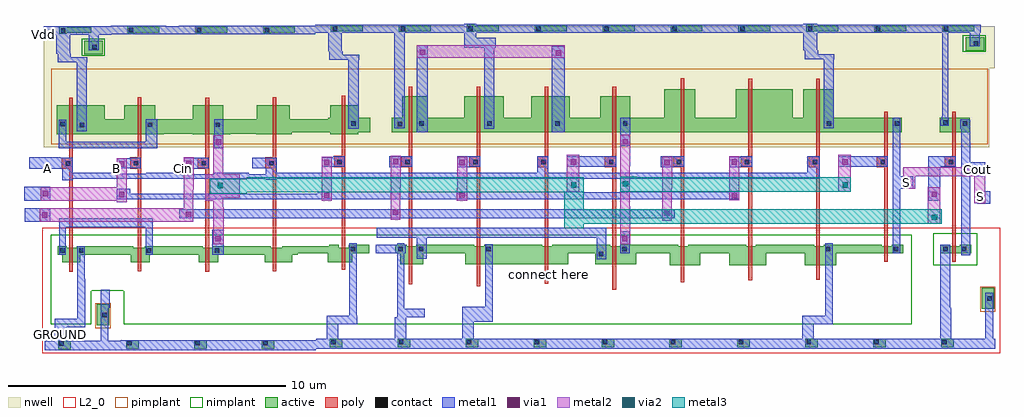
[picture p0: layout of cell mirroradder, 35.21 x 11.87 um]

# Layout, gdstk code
import gdstk
lib = gdstk.Library(unit=1e-6, precision=1e-09)
def R(c, l, rs):  # rectangles x0, y0, x1, y1
    for r in rs: c.add(gdstk.rectangle(r[:2], r[2:], *l))
def A(c, l, x, y, w, h, nx, ny, dx, dy):  # array of equal rectangles
    R(c, l, [(x+i*dx, y+j*dy, x+i*dx+w, y+j*dy+h) for i in range(nx) for j in range(ny)])
def P(c, l, *ps):  # polygons
    for p in ps: c.add(gdstk.Polygon(p, *l))
L2_0 = (2, 0)
nwell = (3, 0)
active = (6, 0)
poly = (17, 0)
pimplant = (25, 0)
nimplant = (26, 0)
contact = (30, 0)
metal1 = (31, 0)
metal2 = (32, 0)
metal3 = (33, 0)
via1 = (51, 0)
via2 = (52, 0)

mirroradder = lib.new_cell('mirroradder')
R(mirroradder, L2_0, [(-1083.125,636.735,-1048.565,641.255)])
P(mirroradder, nwell, [(-1083.07,644.15),(-1048.95,644.15),(-1048.95,647),(-1048.75,647),(-1048.75,648.515),(-1083.07,648.515)])
A(mirroradder, active, -1080.09, 636.885, 0.45, 0.31, 3, 1, 2.45, 0)
A(mirroradder, active, -1072.74, 636.935, 0.45, 0.31, 10, 1, 2.45, 0)
R(mirroradder, active, [(-1082.54,636.875,-1082.09,637.185), (-1081.145,637.735,-1080.7,638.495), (-1049.225,638.33,-1048.78,639.09), (-1071.66,640.335,-1071.32,640.64), (-1071.71,644.695,-1071.29,645.215), (-1062.995,644.695,-1061.91,645.995), (-1053.195,644.695,-1052.11,645.215), (-1050.745,644.695,-1049.66,645.215), (-1081.595,647.51,-1080.93,647.995), (-1049.805,647.645,-1049.14,648.13)])
P(mirroradder, active, [(-1082.595,644.635),(-1081.51,644.635),(-1081.51,645.165),(-1080.86,645.165),(-1080.86,645.675),(-1082.595,645.675)],
  [(-1082.565,640.275),(-1082.395,640.275),(-1082.395,640.015),(-1081.74,640.015),(-1081.74,640.275),(-1081.46,640.275),(-1081.46,640.285),(-1080.115,640.285),(-1080.115,640.58),(-1081.87,640.58),(-1081.87,640.535),(-1082.225,640.535),(-1082.225,640.58),(-1082.565,640.58)],
  [(-1080.05,648.27),(-1079.78,648.27),(-1079.78,648.29),(-1078.9,648.29),(-1078.9,648.5),(-1079.78,648.5),(-1079.78,648.535),(-1080.05,648.535)],
  [(-1081.51,644.635),(-1078.725,644.635),(-1078.725,644.645),(-1077.695,644.645),(-1077.695,645.165),(-1079.035,645.165),(-1079.035,645.675),(-1080.145,645.675),(-1080.145,645.665),(-1080.15,645.665),(-1080.15,645.165),(-1081.51,645.165)],
  [(-1082.5,648.26),(-1082.23,648.26),(-1082.23,648.28),(-1081.35,648.28),(-1081.35,648.49),(-1082.23,648.49),(-1082.23,648.525),(-1082.5,648.525)],
  [(-1080.115,640.285),(-1079.93,640.285),(-1079.93,640.015),(-1079.24,640.015),(-1079.24,640.285),(-1077.665,640.285),(-1077.665,640.59),(-1079.42,640.59),(-1079.42,640.535),(-1079.82,640.535),(-1079.82,640.54),(-1079.835,640.54),(-1079.835,640.59),(-1080.115,640.59)],
  [(-1060.515,640.335),(-1060.48,640.335),(-1060.48,639.895),(-1059.375,639.895),(-1059.375,640.335),(-1059.41,640.335),(-1059.41,640.64),(-1059.82,640.64),(-1059.82,640.595),(-1060.175,640.595),(-1060.175,640.64),(-1060.515,640.64)],
  [(-1065.415,640.335),(-1064.31,640.335),(-1064.31,640.64),(-1064.72,640.64),(-1064.72,640.595),(-1065.075,640.595),(-1065.075,640.64),(-1065.415,640.64)],
  [(-1064.31,640.335),(-1063.175,640.335),(-1063.175,639.945),(-1061.685,639.945),(-1061.685,640.335),(-1060.515,640.335),(-1060.515,640.64),(-1062.27,640.64),(-1062.27,640.595),(-1062.625,640.595),(-1062.625,640.64),(-1064.31,640.64)],
  [(-1054.51,640.335),(-1052.06,640.335),(-1052.06,640.64),(-1052.47,640.64),(-1052.47,640.595),(-1052.825,640.595),(-1052.825,640.64),(-1054.51,640.64)],
  [(-1050.715,640.335),(-1049.61,640.335),(-1049.61,640.64),(-1050.02,640.64),(-1050.02,640.595),(-1050.375,640.595),(-1050.375,640.64),(-1050.715,640.64)],
  [(-1059.41,640.335),(-1058.33,640.335),(-1058.33,639.895),(-1057,639.895),(-1057,640.335),(-1055.615,640.335),(-1055.615,640.64),(-1057.37,640.64),(-1057.37,640.595),(-1057.725,640.595),(-1057.725,640.64),(-1059.41,640.64)],
  [(-1055.615,639.895),(-1054.48,639.895),(-1054.48,640.335),(-1054.51,640.335),(-1054.51,640.64),(-1054.92,640.64),(-1054.92,640.595),(-1055.275,640.595),(-1055.275,640.64),(-1055.615,640.64)],
  [(-1067.865,639.945),(-1064.135,639.945),(-1064.135,640.335),(-1065.415,640.335),(-1065.415,640.64),(-1067.17,640.64),(-1067.17,640.595),(-1067.525,640.595),(-1067.525,640.64),(-1067.865,640.64)],
  [(-1074.11,640.335),(-1072.81,640.335),(-1072.81,640.015),(-1071.925,640.015),(-1071.925,640.335),(-1071.66,640.335),(-1071.66,640.64),(-1072.065,640.64),(-1072.065,640.535),(-1072.425,640.535),(-1072.425,640.64),(-1072.765,640.64),(-1072.765,640.59),(-1074.11,640.59)],
  [(-1075.215,640.285),(-1075.085,640.285),(-1075.085,640.015),(-1074.105,640.015),(-1074.105,640.28),(-1073.895,640.28),(-1073.895,640.335),(-1074.11,640.335),(-1074.11,640.59),(-1074.465,640.59),(-1074.465,640.535),(-1074.875,640.535),(-1074.875,640.59),(-1075.215,640.59)],
  [(-1070.385,640.335),(-1070.2,640.335),(-1070.2,639.945),(-1069.38,639.945),(-1069.38,640.335),(-1067.865,640.335),(-1067.865,640.64),(-1069.62,640.64),(-1069.62,640.595),(-1069.975,640.595),(-1069.975,640.64),(-1070.385,640.64)],
  [(-1077.665,640.285),(-1077.465,640.285),(-1077.465,640.015),(-1076.77,640.015),(-1076.77,640.285),(-1075.215,640.285),(-1075.215,640.59),(-1076.94,640.59),(-1076.94,640.585),(-1076.96,640.585),(-1076.96,640.535),(-1077.325,640.535),(-1077.325,640.59),(-1077.665,640.59)],
  [(-1065.35,648.32),(-1065.08,648.32),(-1065.08,648.34),(-1064.2,648.34),(-1064.2,648.55),(-1065.08,648.55),(-1065.08,648.585),(-1065.35,648.585)],
  [(-1067.8,648.32),(-1067.53,648.32),(-1067.53,648.34),(-1066.65,648.34),(-1066.65,648.55),(-1067.53,648.55),(-1067.53,648.585),(-1067.8,648.585)],
  [(-1077.695,644.635),(-1076.595,644.635),(-1076.595,644.645),(-1076.61,644.645),(-1076.61,645.155),(-1076.58,645.155),(-1076.58,645.675),(-1077.695,645.675)],
  [(-1070.25,648.32),(-1069.98,648.32),(-1069.98,648.34),(-1069.1,648.34),(-1069.1,648.55),(-1069.98,648.55),(-1069.98,648.585),(-1070.25,648.585)],
  [(-1070.5,644.695),(-1067.89,644.695),(-1067.89,645.215),(-1069.215,645.215),(-1069.215,646),(-1069.6,646),(-1069.6,645.995),(-1070.13,645.995),(-1070.13,645.215),(-1070.5,645.215)],
  [(-1066.81,644.695),(-1062.995,644.695),(-1062.995,645.215),(-1064.08,645.215),(-1064.08,645.99),(-1064.085,645.99),(-1064.085,645.995),(-1065.475,645.995),(-1065.475,645.215),(-1066.81,645.215)],
  [(-1077.6,648.27),(-1077.33,648.27),(-1077.33,648.29),(-1076.45,648.29),(-1076.45,648.5),(-1077.33,648.5),(-1077.33,648.535),(-1077.6,648.535)],
  [(-1075.15,648.27),(-1074.88,648.27),(-1074.88,648.29),(-1074,648.29),(-1074,648.5),(-1074.88,648.5),(-1074.88,648.535),(-1075.15,648.535)],
  [(-1072.795,644.695),(-1072.73,644.695),(-1072.73,644.635),(-1071.71,644.635),(-1071.71,645.215),(-1071.705,645.215),(-1071.705,645.675),(-1072.73,645.675),(-1072.73,645.215),(-1072.795,645.215)],
  [(-1072.7,648.32),(-1072.43,648.32),(-1072.43,648.34),(-1071.55,648.34),(-1071.55,648.55),(-1072.43,648.55),(-1072.43,648.585),(-1072.7,648.585)],
  [(-1067.895,644.695),(-1066.81,644.695),(-1066.81,645.215),(-1066.47,645.215),(-1066.47,645.995),(-1067.895,645.995)],
  [(-1076.93,644.635),(-1076.33,644.635),(-1076.33,644.65),(-1075.4,644.65),(-1075.4,644.64),(-1075.39,644.64),(-1075.39,644.635),(-1074.115,644.635),(-1074.115,644.64),(-1074.11,644.64),(-1074.11,644.695),(-1072.79,644.695),(-1072.79,645.165),(-1074.19,645.165),(-1074.19,645.675),(-1075.37,645.675),(-1075.37,645.165),(-1076.61,645.165),(-1076.61,644.65),(-1076.93,644.65)],
  [(-1060.45,648.32),(-1060.18,648.32),(-1060.18,648.34),(-1059.3,648.34),(-1059.3,648.55),(-1060.18,648.55),(-1060.18,648.585),(-1060.45,648.585)],
  [(-1058.095,644.695),(-1057.01,644.695),(-1057.01,645.215),(-1056.05,645.215),(-1056.05,646.255),(-1058.095,646.255)],
  [(-1053.1,648.32),(-1052.83,648.32),(-1052.83,648.34),(-1051.95,648.34),(-1051.95,648.55),(-1052.83,648.55),(-1052.83,648.585),(-1053.1,648.585)],
  [(-1050.65,648.32),(-1050.38,648.32),(-1050.38,648.34),(-1049.5,648.34),(-1049.5,648.55),(-1050.38,648.55),(-1050.38,648.585),(-1050.65,648.585)],
  [(-1058,648.32),(-1057.73,648.32),(-1057.73,648.34),(-1056.85,648.34),(-1056.85,648.55),(-1057.73,648.55),(-1057.73,648.585),(-1058,648.585)],
  [(-1055.55,648.32),(-1055.28,648.32),(-1055.28,648.34),(-1054.4,648.34),(-1054.4,648.55),(-1055.28,648.55),(-1055.28,648.585),(-1055.55,648.585)],
  [(-1061.91,644.695),(-1058.095,644.695),(-1058.095,645.215),(-1059.555,645.215),(-1059.555,646.255),(-1060.68,646.255),(-1060.68,645.215),(-1061.91,645.215)],
  [(-1062.9,648.32),(-1062.63,648.32),(-1062.63,648.34),(-1061.75,648.34),(-1061.75,648.55),(-1062.63,648.55),(-1062.63,648.585),(-1062.9,648.585)],
  [(-1057.01,644.695),(-1053.195,644.695),(-1053.195,645.215),(-1054.555,645.215),(-1054.555,646.255),(-1055.67,646.255),(-1055.67,645.215),(-1057.01,645.215)])
P(mirroradder, poly, [(-1082.41,643.375),(-1082.14,643.375),(-1082.14,639.665),(-1082.01,639.665),(-1082.01,645.945),(-1082.14,645.945),(-1082.14,643.775),(-1082.41,643.775)],
  [(-1079.95,643.39),(-1079.68,643.39),(-1079.68,639.68),(-1079.55,639.68),(-1079.55,645.96),(-1079.68,645.96),(-1079.68,643.79),(-1079.95,643.79)],
  [(-1067.71,643.44),(-1067.44,643.44),(-1067.44,639.15),(-1067.31,639.15),(-1067.31,646.345),(-1067.44,646.345),(-1067.44,643.84),(-1067.71,643.84)],
  [(-1070.16,643.435),(-1069.89,643.435),(-1069.89,639.215),(-1069.76,639.215),(-1069.76,646.34),(-1069.89,646.34),(-1069.89,643.835),(-1070.16,643.835)],
  [(-1077.5,643.38),(-1077.23,643.38),(-1077.23,639.67),(-1077.1,639.67),(-1077.1,645.95),(-1077.23,645.95),(-1077.23,643.78),(-1077.5,643.78)],
  [(-1075.07,643.4),(-1074.8,643.4),(-1074.8,639.69),(-1074.67,639.69),(-1074.67,645.97),(-1074.8,645.97),(-1074.8,643.8),(-1075.07,643.8)],
  [(-1072.59,643.445),(-1072.32,643.445),(-1072.32,639.735),(-1072.19,639.735),(-1072.19,646.015),(-1072.32,646.015),(-1072.32,643.845),(-1072.59,643.845)],
  [(-1065.26,643.435),(-1064.99,643.435),(-1064.99,639.225),(-1064.86,639.225),(-1064.86,646.34),(-1064.99,646.34),(-1064.99,643.835),(-1065.26,643.835)],
  [(-1062.815,643.435),(-1062.545,643.435),(-1062.545,639.015),(-1062.415,639.015),(-1062.415,646.34),(-1062.545,646.34),(-1062.545,643.835),(-1062.815,643.835)],
  [(-1053.01,643.435),(-1052.74,643.435),(-1052.74,640.02),(-1052.61,640.02),(-1052.61,645.445),(-1052.74,645.445),(-1052.74,643.835),(-1053.01,643.835)],
  [(-1050.56,643.435),(-1050.29,643.435),(-1050.29,640.025),(-1050.16,640.025),(-1050.16,645.445),(-1050.29,645.445),(-1050.29,643.835),(-1050.56,643.835)],
  [(-1060.36,643.435),(-1060.09,643.435),(-1060.09,639.28),(-1059.96,639.28),(-1059.96,646.64),(-1060.09,646.64),(-1060.09,643.835),(-1060.36,643.835)],
  [(-1057.91,643.435),(-1057.64,643.435),(-1057.64,639.355),(-1057.51,639.355),(-1057.51,646.625),(-1057.64,646.625),(-1057.64,643.835),(-1057.91,643.835)],
  [(-1055.46,643.435),(-1055.19,643.435),(-1055.19,639.37),(-1055.06,639.37),(-1055.06,646.625),(-1055.19,646.625),(-1055.19,643.835),(-1055.46,643.835)])
R(mirroradder, pimplant, [(-1081.2,637.625,-1080.65,638.53), (-1049.28,638.22,-1048.73,639.125), (-1082.8,644.265,-1049.015,646.995)])
R(mirroradder, nimplant, [(-1050.97,639.895,-1049.39,641.055), (-1081.7,647.46,-1080.865,648.065), (-1049.91,647.595,-1049.075,648.2)])
P(mirroradder, nimplant, [(-1082.81,637.77),(-1081.35,637.77),(-1081.35,638.985),(-1080.185,638.985),(-1080.185,637.77),(-1051.745,637.77),(-1051.745,640.995),(-1082.81,640.995)])
A(mirroradder, contact, -1080.045, 637.01, 0.16, 0.16, 3, 1, 2.45, 0)
A(mirroradder, contact, -1072.695, 637.06, 0.16, 0.16, 10, 1, 2.45, 0)
A(mirroradder, contact, -1079.82, 643.5, 0.16, 0.16, 3, 1, 2.45, 0)
A(mirroradder, contact, -1072.47, 643.55, 0.16, 0.16, 8, 1, 2.45, 0)
A(mirroradder, contact, -1071.965, 644.94, 0.16, 0.16, 5, 1, 2.45, 0)
A(mirroradder, contact, -1054.815, 644.94, 0.16, 0.16, 3, 1, 2.45, 0)
A(mirroradder, contact, -1079.99, 648.305, 0.16, 0.16, 3, 1, 2.45, 0)
A(mirroradder, contact, -1072.64, 648.355, 0.16, 0.16, 10, 1, 2.45, 0)
R(mirroradder, contact, [(-1082.495,637,-1082.335,637.16), (-1080.945,638.02,-1080.785,638.18), (-1049.025,638.615,-1048.865,638.775), (-1063.045,640.22,-1062.885,640.38), (-1082.46,640.35,-1082.3,640.51), (-1081.79,640.35,-1081.63,640.51), (-1079.34,640.36,-1079.18,640.52), (-1076.89,640.36,-1076.73,640.52), (-1071.99,640.41,-1071.83,640.57), (-1070.265,640.41,-1070.105,640.57), (-1069.54,640.41,-1069.38,640.57), (-1067.09,640.41,-1066.93,640.57), (-1062.19,640.41,-1062.03,640.57), (-1054.84,640.41,-1054.68,640.57), (-1052.39,640.41,-1052.23,640.57), (-1050.61,640.41,-1050.45,640.57), (-1049.94,640.41,-1049.78,640.57), (-1082.27,643.49,-1082.11,643.65), (-1052.875,643.55,-1052.715,643.71), (-1050.42,643.55,-1050.26,643.71), (-1081.765,644.88,-1081.605,645.04), (-1079.315,644.89,-1079.155,645.05), (-1076.865,644.89,-1076.705,645.05), (-1082.465,644.91,-1082.305,645.07), (-1070.29,644.915,-1070.13,645.075), (-1050.615,644.97,-1050.455,645.13), (-1081.305,647.695,-1081.145,647.855), (-1049.515,647.83,-1049.355,647.99), (-1082.44,648.295,-1082.28,648.455)])
A(mirroradder, metal1, -1073.27, 648.285, 1.96, 0.3, 3, 1, 4.9, 0)
A(mirroradder, metal1, -1058.57, 648.285, 2.45, 0.3, 3, 1, 2.45, 0)
R(mirroradder, metal1, [(-1078.125,636.84,-1075.6,637.195), (-1075.675,636.84,-1073.245,637.195), (-1082.665,636.875,-1082.25,637.965), (-1070.775,636.89,-1068.155,637.245), (-1068.325,636.89,-1065.7,637.245), (-1065.875,636.89,-1063.215,637.245), (-1063.425,636.89,-1060.855,637.245), (-1060.975,636.89,-1058.41,637.245), (-1058.525,636.89,-1056,637.245), (-1056.075,636.89,-1053.535,637.245), (-1053.625,636.89,-1051.045,637.245), (-1051.175,636.89,-1048.745,637.245), (-1070.405,636.935,-1069.99,638.025), (-1067.965,636.955,-1067.55,638.045), (-1072.855,636.995,-1072.44,638.085), (-1055.695,636.995,-1055.28,638.085), (-1082.49,637.66,-1081.57,637.965), (-1072.68,637.78,-1071.76,638.085), (-1055.52,637.78,-1054.6,638.085), (-1070.305,637.82,-1070.065,640.69), (-1067.965,637.87,-1066.865,638.405), (-1070.315,638.025,-1069.325,638.33), (-1063.12,640.12,-1062.775,640.905), (-1069.61,640.135,-1069.25,641.255), (-1049.955,640.255,-1049.635,645.135), (-1082.5,640.275,-1082.26,641.42), (-1079.375,640.285,-1079.125,641.445), (-1076.985,640.285,-1076.57,641.18), (-1071.09,640.335,-1070.01,640.645), (-1062.27,640.335,-1061.925,641.12), (-1052.43,640.335,-1052.165,645.215), (-1071.05,640.895,-1062.775,641.255), (-1082.5,641.27,-1079.125,641.595), (-1083.75,641.475,-1082.825,641.955), (-1078.17,641.6,-1060.305,641.93), (-1049.38,642.125,-1048.915,642.57), (-1051.15,642.225,-1050.725,643.825), (-1083.775,642.235,-1082.825,642.725), (-1052.165,642.66,-1051.7,643.105), (-1049.635,643.11,-1049.1,643.615), (-1083.585,643.39,-1082.465,643.79), (-1055.46,643.45,-1055.06,643.835), (-1050.725,643.45,-1050.51,643.825), (-1050.56,643.45,-1050.16,643.835), (-1082.53,644.12,-1082.245,645.155), (-1082.53,644.13,-1078.97,644.36), (-1076.92,644.13,-1076.595,645.165), (-1062.265,644.205,-1061.91,645.215), (-1079.39,644.3,-1078.97,645.165), (-1064.74,644.695,-1064.265,647.805), (-1081.88,644.735,-1081.51,647.225), (-1072.075,644.825,-1071.705,647.315), (-1050.005,644.83,-1049.675,645.17), (-1070.42,644.835,-1070.045,648.285), (-1082.605,647.535,-1082.11,648.49), (-1072.8,647.625,-1072.305,648.58), (-1055.655,647.65,-1055.16,648.605), (-1081.44,647.665,-1081.085,648.225), (-1067.885,647.745,-1067.455,648.605), (-1067.885,647.755,-1066.765,648.105), (-1049.65,647.8,-1049.295,648.36), (-1078.17,648.235,-1076.21,648.535), (-1051.22,648.285,-1049.26,648.585)])
P(mirroradder, metal1, [(-1054.4,643.455),(-1053.015,643.455),(-1053.015,643.45),(-1052.615,643.45),(-1052.615,643.835),(-1054.4,643.835)],
  [(-1068.15,643.435),(-1067.71,643.435),(-1067.71,643.45),(-1067.31,643.45),(-1067.31,643.835),(-1068.15,643.835)],
  [(-1083.025,636.83),(-1080.595,636.83),(-1080.595,636.84),(-1080.575,636.84),(-1080.575,637.185),(-1083.025,637.185)],
  [(-1083.07,648.225),(-1080.62,648.225),(-1080.62,648.52),(-1081.11,648.52),(-1081.11,648.525),(-1083.07,648.525)],
  [(-1073.035,643.45),(-1072.21,643.45),(-1072.21,643.835),(-1072.61,643.835),(-1072.61,643.805),(-1073.035,643.805)],
  [(-1080.575,636.84),(-1078.105,636.84),(-1078.105,637.195),(-1080.28,637.195),(-1080.28,637.185),(-1080.575,637.185)],
  [(-1078.015,643.39),(-1077.51,643.39),(-1077.51,643.4),(-1077.11,643.4),(-1077.11,643.785),(-1078.015,643.785)],
  [(-1073.43,636.89),(-1070.655,636.89),(-1070.655,637.245),(-1073.225,637.245),(-1073.225,637.195),(-1073.43,637.195)],
  [(-1064.195,643.455),(-1062.81,643.455),(-1062.81,643.45),(-1062.41,643.45),(-1062.41,643.835),(-1064.195,643.835)],
  [(-1065.26,643.45),(-1065.255,643.45),(-1065.255,643.045),(-1064.86,643.045),(-1064.86,643.835),(-1065.26,643.835)],
  [(-1058.335,643.44),(-1057.91,643.44),(-1057.91,643.45),(-1057.51,643.45),(-1057.51,643.835),(-1057.91,643.835),(-1057.91,643.815),(-1058.335,643.815)],
  [(-1075.545,643.395),(-1075.06,643.395),(-1075.06,642.99),(-1074.66,642.99),(-1074.66,643.785),(-1075.545,643.785)],
  [(-1082.915,643.39),(-1082.4,643.39),(-1082.4,642.96),(-1082.01,642.96),(-1082.01,643.775),(-1082.915,643.775)],
  [(-1080.62,648.235),(-1078.15,648.235),(-1078.15,648.53),(-1078.66,648.53),(-1078.66,648.535),(-1080.62,648.535)],
  [(-1082.4,643.025),(-1055.06,643.025),(-1055.06,643.835),(-1055.51,643.835),(-1055.51,643.235),(-1074.905,643.235),(-1074.905,643.185),(-1075.67,643.185),(-1075.67,643.235),(-1076.91,643.235),(-1076.91,643.185),(-1078.32,643.185),(-1078.32,643.235),(-1079.365,643.235),(-1079.365,643.2),(-1080.565,643.2),(-1080.565,643.235),(-1082.4,643.235)],
  [(-1060.795,643.44),(-1060.34,643.44),(-1060.34,643.45),(-1059.96,643.45),(-1059.96,643.835),(-1060.795,643.835)],
  [(-1061.51,648.295),(-1061.02,648.295),(-1061.02,648.285),(-1058.565,648.285),(-1058.565,648.585),(-1061.51,648.585)],
  [(-1080.43,643.4),(-1079.56,643.4),(-1079.56,643.785),(-1079.96,643.785),(-1079.96,643.765),(-1080.43,643.765)],
  [(-1071.31,648.285),(-1068.37,648.285),(-1068.37,648.58),(-1068.86,648.58),(-1068.86,648.585),(-1070.82,648.585),(-1070.82,648.57),(-1071.31,648.57)],
  [(-1076.21,648.235),(-1073.76,648.235),(-1073.76,648.24),(-1073.27,648.24),(-1073.27,648.535),(-1076.21,648.535)],
  [(-1070.605,643.43),(-1070.14,643.43),(-1070.14,643.45),(-1069.76,643.45),(-1069.76,643.835),(-1070.605,643.835)],
  [(-1066.41,648.285),(-1063.465,648.285),(-1063.465,648.585),(-1065.92,648.585),(-1065.92,648.575),(-1066.41,648.575)],
  [(-1082.565,647.225),(-1081.49,647.225),(-1081.49,647.405),(-1082.08,647.405),(-1082.08,647.535),(-1082.565,647.535)],
  [(-1081.845,637.965),(-1081.57,637.965),(-1081.57,639.4),(-1081.575,639.4),(-1081.575,640.58),(-1081.845,640.58)],
  [(-1081.015,637.185),(-1080.73,637.185),(-1080.73,638.375),(-1080.675,638.375),(-1080.675,639.015),(-1081.015,639.015)],
  [(-1067.14,638.045),(-1066.865,638.045),(-1066.865,639.48),(-1066.87,639.48),(-1066.87,640.66),(-1067.14,640.66)],
  [(-1050.715,637.245),(-1050.33,637.245),(-1050.33,638.37),(-1050.365,638.37),(-1050.365,640.64),(-1050.715,640.64)],
  [(-1054.875,638.085),(-1054.6,638.085),(-1054.6,639.52),(-1054.605,639.52),(-1054.605,640.7),(-1054.875,640.7)],
  [(-1072.035,638.085),(-1071.77,638.085),(-1071.77,639.52),(-1071.765,639.52),(-1071.765,640.7),(-1072.035,640.7)],
  [(-1049.09,637.225),(-1048.815,637.225),(-1048.815,637.53),(-1048.805,637.53),(-1048.805,638.905),(-1049.09,638.905)],
  [(-1080.43,642.28),(-1080.415,642.28),(-1080.415,642.275),(-1079.94,642.275),(-1079.94,642.28),(-1057.975,642.28),(-1057.975,642.56),(-1062,642.56),(-1062,642.54),(-1063.59,642.54),(-1063.59,642.56),(-1073.185,642.56),(-1073.185,642.485),(-1077.475,642.485),(-1077.475,642.475),(-1079.94,642.475),(-1079.94,642.665),(-1080.43,642.665)],
  [(-1072.76,647.315),(-1071.685,647.315),(-1071.685,647.495),(-1072.275,647.495),(-1072.275,647.625),(-1072.76,647.625)],
  [(-1069.6,644.695),(-1069.215,644.695),(-1069.215,646.095),(-1069.205,646.095),(-1069.205,647.83),(-1069.6,647.83)],
  [(-1067.18,644.82),(-1066.81,644.82),(-1066.81,646.02),(-1066.815,646.02),(-1066.815,647.755),(-1067.18,647.755)],
  [(-1055.615,647.34),(-1054.54,647.34),(-1054.54,647.52),(-1055.13,647.52),(-1055.13,647.65),(-1055.615,647.65)],
  [(-1054.93,644.85),(-1054.56,644.85),(-1054.56,645.605),(-1054.555,645.605),(-1054.555,647.34),(-1054.93,647.34)],
  [(-1050.725,644.925),(-1050.405,644.925),(-1050.405,645.225),(-1050.435,645.225),(-1050.435,646.565),(-1050.43,646.565),(-1050.43,648.47),(-1050.65,648.47),(-1050.65,645.265),(-1050.665,645.265),(-1050.665,645.155),(-1050.725,645.155)])
R(mirroradder, metal2, [(-1051.18,641.4,-1050.725,642.72), (-1083.215,641.475,-1077.73,641.955), (-1083.175,642.235,-1080.07,642.71), (-1064.195,642.56,-1063.74,643.88), (-1054.4,642.56,-1053.945,643.88), (-1069.6,647.385,-1064.265,647.83)])
P(mirroradder, metal2, [(-1080.435,642.18),(-1080.07,642.18),(-1080.07,643.765),(-1080.43,643.765),(-1080.43,642.625),(-1080.435,642.625)],
  [(-1078.015,641.475),(-1077.67,641.475),(-1077.67,642.65),(-1077.655,642.65),(-1077.655,643.79),(-1078.015,643.79)],
  [(-1068.155,642.235),(-1067.79,642.235),(-1067.79,643.82),(-1068.15,643.82),(-1068.15,642.68),(-1068.155,642.68)],
  [(-1073.04,642.235),(-1072.675,642.235),(-1072.675,643.82),(-1073.035,643.82),(-1073.035,642.68),(-1073.04,642.68)],
  [(-1070.545,641.54),(-1070.2,641.54),(-1070.2,642.715),(-1070.185,642.715),(-1070.185,643.855),(-1070.545,643.855)],
  [(-1077.24,642.22),(-1076.94,642.22),(-1076.94,640.655),(-1076.57,640.655),(-1076.57,642),(-1076.595,642),(-1076.595,642.34),(-1075.985,642.34),(-1075.985,643.185),(-1076.595,643.185),(-1076.595,643.46),(-1076.58,643.46),(-1076.58,644.6),(-1076.94,644.6),(-1076.94,643.19),(-1077.24,643.19)],
  [(-1058.34,642.25),(-1057.975,642.25),(-1057.975,643.835),(-1058.335,643.835),(-1058.335,642.695),(-1058.34,642.695)],
  [(-1060.755,641.505),(-1060.41,641.505),(-1060.41,642.68),(-1060.395,642.68),(-1060.395,643.82),(-1060.755,643.82)],
  [(-1062.27,640.665),(-1061.9,640.665),(-1061.9,642.01),(-1061.925,642.01),(-1061.925,643.47),(-1061.91,643.47),(-1061.91,644.61),(-1062.27,644.61)],
  [(-1052.05,642.66),(-1051.63,642.66),(-1051.63,643.105),(-1049.485,643.105),(-1049.485,642.13),(-1049.1,642.13),(-1049.1,643.435),(-1052.05,643.435)])
P(mirroradder, metal3, [(-1077.075,642.485),(-1075.745,642.485),(-1075.745,642.54),(-1064.285,642.54),(-1064.285,641.23),(-1063.59,641.23),(-1063.59,641.4),(-1050.675,641.4),(-1050.675,641.93),(-1063.59,641.93),(-1063.59,643.08),(-1075.745,643.08),(-1075.745,643.025),(-1077.075,643.025)],
  [(-1062.27,642.56),(-1053.95,642.56),(-1053.95,643.08),(-1061.65,643.08),(-1061.65,643.095),(-1062.27,643.095)])
R(mirroradder, via1, [(-1076.87,640.76,-1076.68,640.95), (-1062.2,640.77,-1062.01,640.96), (-1083.12,641.615,-1082.93,641.805), (-1077.935,641.65,-1077.745,641.84), (-1060.675,641.68,-1060.485,641.87), (-1070.465,641.715,-1070.275,641.905), (-1049.34,642.255,-1049.15,642.445), (-1058.24,642.315,-1058.05,642.505), (-1072.95,642.33,-1072.76,642.52), (-1068.065,642.33,-1067.875,642.52), (-1080.345,642.355,-1080.155,642.545), (-1051.035,642.37,-1050.845,642.56), (-1083.09,642.395,-1082.9,642.585), (-1052.02,642.76,-1051.83,642.95), (-1080.345,643.46,-1080.155,643.65), (-1077.93,643.485,-1077.74,643.675), (-1072.95,643.515,-1072.76,643.705), (-1068.065,643.515,-1067.875,643.705), (-1060.67,643.515,-1060.48,643.705), (-1064.05,643.53,-1063.86,643.72), (-1058.25,643.53,-1058.06,643.72), (-1054.255,643.53,-1054.065,643.72), (-1070.46,643.55,-1070.27,643.74), (-1076.85,644.255,-1076.66,644.445), (-1062.18,644.265,-1061.99,644.455), (-1064.585,647.465,-1064.395,647.655), (-1069.49,647.49,-1069.3,647.68)])
R(mirroradder, via2, [(-1051.025,641.54,-1050.835,641.73), (-1076.79,642.685,-1076.6,642.875), (-1064.04,642.7,-1063.85,642.89), (-1054.245,642.7,-1054.055,642.89), (-1062.175,642.75,-1061.985,642.94)])
mirroradder.add(gdstk.Label('A', (-1082.915,643.39), layer=131, texttype=0))
mirroradder.add(gdstk.Label('Vdd', (-1083.07,648.225), layer=131, texttype=0))
mirroradder.add(gdstk.Label('Cin', (-1078.015,643.39), layer=131, texttype=0))
mirroradder.add(gdstk.Label('B', (-1080.43,643.4), layer=131, texttype=0))
mirroradder.add(gdstk.Label('GROUND', (-1082.458,637.42), layer=131, texttype=0))
mirroradder.add(gdstk.Label('connect here', (-1064.86,639.565), layer=3, texttype=0))
mirroradder.add(gdstk.Label('Cout', (-1049.368,643.362), layer=131, texttype=0))
mirroradder.add(gdstk.Label('S', (-1049.253,642.377), layer=131, texttype=0))
mirroradder.add(gdstk.Label('A', (-1082.915,643.39), layer=31, texttype=0))
mirroradder.add(gdstk.Label('GROUND', (-1082.458,637.42), layer=31, texttype=0))
mirroradder.add(gdstk.Label('Cout', (-1049.368,643.362), layer=31, texttype=0))
mirroradder.add(gdstk.Label('S', (-1051.933,642.882), layer=31, texttype=0))
mirroradder.add(gdstk.Label('Cin', (-1078.015,643.39), layer=31, texttype=0))
mirroradder.add(gdstk.Label('Vdd', (-1083.07,648.225), layer=31, texttype=0))
mirroradder.add(gdstk.Label('B', (-1080.43,643.4), layer=31, texttype=0))

lib.write_gds('mirroradder.gds')
